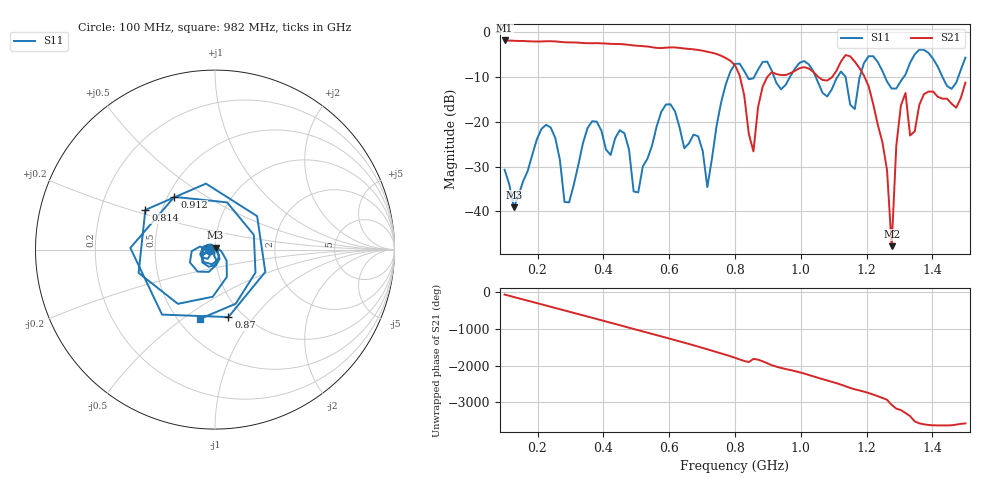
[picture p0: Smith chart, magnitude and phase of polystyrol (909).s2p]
! NanoVNA-App
! Date: 2025-09-25 15:36:57
! Start: 100MHz Stop: 1,5GHz Points: 101
! S-Parameter data: F S11 S21 S12 S22
# Hz S RI R 50
!  Frequency  S11_Real  S11_Imag  S21_Real  S21_Imag  S12_Real  S12_Imag  S22_Real  S22_Imag
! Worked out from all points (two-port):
!   101 points, 100 MHz to 1.5 GHz, reference 50 ohm
!   highest |S21| = -1.80 dB at 100 MHz (marker M1); lowest = -47.8 dB at 1.276 GHz (marker M2)
!   |S21| within 3 dB of the highest: start of sweep to 742.8 MHz
!   lowest |S11| = -39.1 dB at 128 MHz (marker M3), VSWR 1.02, Z = 50.3 + j1.06 ohm
!   |S11| at or under -10 dB: start of sweep to 779.8 MHz; 1.045 GHz to 1.111 GHz (65.36 MHz wide, 6.06 % of centre); 1.256 GHz to 1.312 GHz (56.44 MHz wide, 4.39 % of centre) (the widest 3 of 7)
!   S12 and S22 are empty: the file has one direction only
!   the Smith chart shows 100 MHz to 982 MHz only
!   S11 on the Smith chart (normalised r, x): 100 MHz: 0.94, -0.01; 814 MHz: 0.41, +0.22; 870 MHz: 0.85, -0.75; 912 MHz: 0.54, +0.37; 982 MHz: 0.64, -0.58
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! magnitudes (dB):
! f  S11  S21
! 100 MHz  -30.7  -1.8
! 128 MHz  -39.1  -1.9
! 212 MHz  -21.6  -2.0
! 282 MHz  -37.9  -2.2
! 338 MHz  -24.8  -2.4
! 464 MHz  -22.6  -2.7
! 506 MHz  -35.8  -3.0
! 576 MHz  -17.8  -3.5
! 716 MHz  -34.6  -4.3
! 800 MHz  -7.0  -7.3
! 814 MHz  -7.0  -9.6
! 856 MHz  -10.3  -26.6
! 870 MHz  -8.3  -16.7
! 912 MHz  -8.6  -8.9
! 982 MHz  -8.1  -8.6
! 1.038 GHz  -8.7  -8.8
! 1.192 GHz  -6.8  -9.7
! 1.262 GHz  -11.0  -30.9
! 1.276 GHz  -12.6  -47.8
! 1.29 GHz  -12.5  -25.4
! 1.318 GHz  -9.4  -13.6
! 1.5 GHz  -5.7  -11.2
